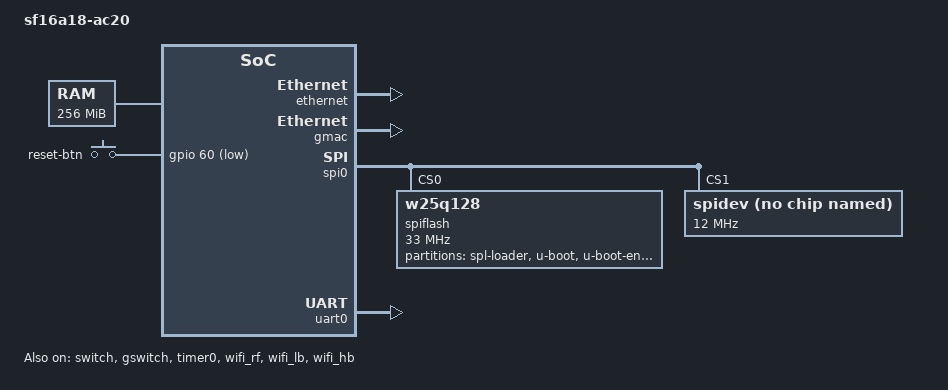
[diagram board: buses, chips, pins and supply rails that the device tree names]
/dts-v1/;

#include "sf16a18_full_mask.dtsi"

/ {
	#address-cells = <1>;
	#size-cells = <1>;
	compatible = "siflower,sf16a18-soc";
    model = "sf16a18-ac20";

	memory {
		device_type = "memory";
		reg =  <0x00000000 0x10000000>;
	};
};

&ethernet {
	shutdown-portlist = "ll***";
        led-on-off-time = /bits/ 16 <0xff 0x2ff>;
	status = "okay";
	smp-affinity = <2>;
};

&switch{
	sfax8,port-map = "ll***";
	status = "okay";
	smp-affinity = <2>;
};

&gmac {
	gswitch = "realtek";
	status = "okay";
};

&gswitch {
	status = "okay";
};

&gpio_keys {
    status = "okay";
    reset-btn@60 {
        label = "reset-btn";
        linux,code = <0x198>;
	    gpios = <&gpio 60 1>;
	    poll-interval = <10>;
	    debounce-interval = <20>;
		};
};

&spi0 {
	status = "okay";
	//use-dma;
	dmas = <&gdma 10
	&gdma 11>;
	dma-names = "tx", "rx";

	#address-cells = <1>;
	#size-cells = <0>;

	spiflash:w25q128@0 {
		compatible = "w25q128";
		reg = <0>;	/* chip select */
		spi-max-frequency = <33000000>;

		bank-width = <2>;
		device-width = <2>;
		#address-cells = <1>;
		#size-cells = <1>;

		partition@0 {
			label = "spl-loader";
			reg = <0x0 0x20000>; /* 128k */
			read-only;
		};

		partition@20000 {
			label = "u-boot";
			reg = <0x20000 0x60000>; /* 384k */
		};

		partition@80000 {
			label = "u-boot-env";
			reg = <0x80000 0x10000>; /* 64k */
		};

		factory:partition@90000 {
			label = "factory";
			reg = <0x90000 0x10000>; /* 64k */
		};

		partition@a0000 {
			label = "firmware";
			reg = <0xa0000 0x760000>; /* 640k-16M */
		};
	};

	spidev: spi@8200000 {
		compatible = "rohm,dh2228fv";
		reg = <1>;
		clock = <50000000>;
		spi-cpha;
		spi-cpol;
		spi-max-frequency=<12000000>;
	};
};

&uart0 {
	status = "okay";
};

&timer0 {
	status = "okay";
};


&wifi_rf {
	status = "okay";
	gpio-expa = <&gpio 51 0>;
};

&wifi_lb {
	status = "okay";

	#address-cells = <1>;
	#size-cells = <0>;
	gpio-leds = <&gpio 36 0>;
	smp-affinity = <2>;
};

&wifi_hb {
	status = "okay";

	#address-cells = <1>;
	#size-cells = <0>;
	gpio-leds = <&gpio 36 0>;
	smp-affinity = <3>;
};
